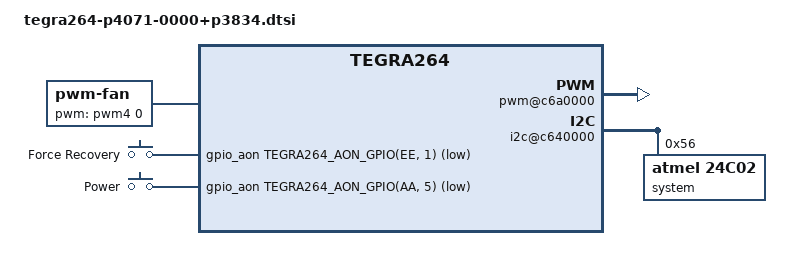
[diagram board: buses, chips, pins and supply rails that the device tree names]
// SPDX-License-Identifier: GPL-2.0-only OR BSD-2-Clause

#include <dt-bindings/input/linux-event-codes.h>
#include <dt-bindings/input/gpio-keys.h>

/ {
	aliases {
		serial0 = &{/bus@0/serial@c4e0000};
		serial1 = &{/bus@0/serial@c5a0000};
	};

	chosen {
		stdout-path = "serial0:115200n8";
	};

	bus@0 {
		rtc@c2c0000 {
			status = "okay";
		};

		pwm@c6a0000 {
			status = "okay";
		};
	};

	bus@8100000000 {
		i2c@c640000 {
			eeprom@56 {
				compatible = "atmel,24c02";
				reg = <0x56>;
				label = "system";
				address-width = <8>;
				pagesize = <8>;
				size = <256>;
				read-only;
			};
		};
	};

	fan: pwm-fan {
		compatible = "pwm-fan";
		cooling-levels = <77 102 140 192 255>;
		pwms = <&pwm4 0 40000>;
		#cooling-cells = <2>;
	};

	gpio-keys {
		compatible = "gpio-keys";

		key-force-recovery {
			label = "Force Recovery";
			gpios = <&gpio_aon TEGRA264_AON_GPIO(EE, 1) GPIO_ACTIVE_LOW>;
			linux,input-type = <EV_KEY>;
			linux,code = <KEY_SLEEP>;
		};

		key-power {
			label = "Power";
			gpios = <&gpio_aon TEGRA264_AON_GPIO(AA, 5) GPIO_ACTIVE_LOW>;
			linux,input-type = <EV_KEY>;
			linux,code = <KEY_POWER>;
			wakeup-event-action = <EV_ACT_ASSERTED>;
			wakeup-source;
		};
	};

	thermal-zones {
		tj-thermal {
			trips {
				tj_trip_active0: active-0 {
					temperature = <80000>;
					hysteresis = <0>;
					type = "active";
				};

				tj_trip_active1: active-1 {
					temperature = <86000>;
					hysteresis = <0>;
					type = "active";
				};

				tj_trip_active2: active-2 {
					temperature = <91000>;
					hysteresis = <0>;
					type = "active";
				};

				tj_trip_active3: active-3 {
					temperature = <100000>;
					hysteresis = <0>;
					type = "active";
				};
			};

			cooling-maps {
				map-active-0 {
					cooling-device = <&fan 0 1>;
					trip = <&tj_trip_active0>;
				};

				map-active-1 {
					cooling-device = <&fan 1 2>;
					trip = <&tj_trip_active1>;
				};

				map-active-2 {
					cooling-device = <&fan 2 3>;
					trip = <&tj_trip_active2>;
				};

				map-active-3 {
					cooling-device = <&fan 3 4>;
					trip = <&tj_trip_active3>;
				};
			};
		};
	};
};
